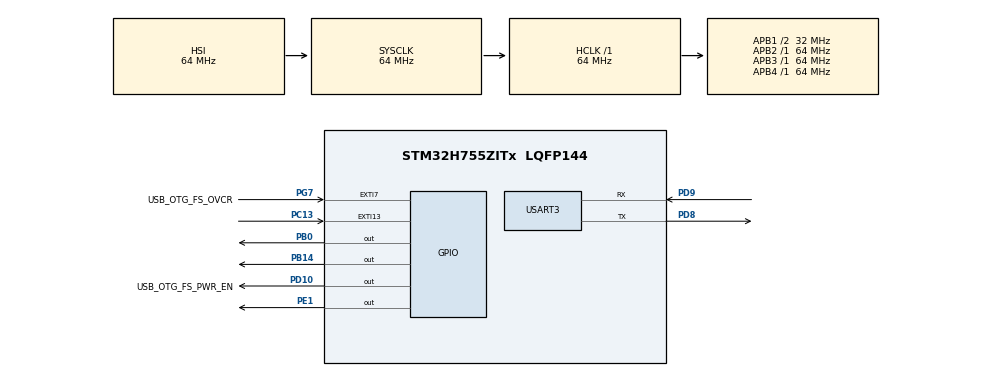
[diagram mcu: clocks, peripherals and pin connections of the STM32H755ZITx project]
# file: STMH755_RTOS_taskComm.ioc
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CortexM4.IPs=FATFS_M4\:I,FREERTOS_M4\:I,IWDG2\:I,RCC,WWDG2\:I,DMA,BDMA,MDMA,NVIC2\:I,USART3,DEBUG,PDM2PCM_M4\:I,PWR,RESMGR_UTILITY,SYS_M4\:I,USB_DEVICE_M4\:I,USB_HOST_M4\:I,CORTEX_M4\:I,GPIO,OPENAMP_M4\:I,VREFBUF,NUCLEO-H755ZI-Q,TIM2
CortexM4.Pins=PE1
CortexM7.IPs=FATFS_M7\:I,FREERTOS_M7\:I,IWDG1\:I,RCC\:I,WWDG1\:I,DMA\:I,BDMA\:I,MDMA\:I,NVIC1\:I,USART3\:I,USB_OTG_FS\:I,SYS\:I,CORTEX_M7\:I,DEBUG\:I,PDM2PCM_M7\:I,PWR\:I,RESMGR_UTILITY\:I,USB_DEVICE_M7\:I,USB_HOST_M7\:I,GPIO\:I,OPENAMP_M7\:I,VREFBUF\:I,NUCLEO-H755ZI-Q\:I,TIM2\:I
CortexM7.Pins=PC13,PB0,PB14
FREERTOS_M7.BinarySemaphores01=uartRxSem,Dynamic,NULL,Depleted
FREERTOS_M7.Queues01=ConsoleQueue,8,uint16_t,0,Dynamic,NULL,NULL;LEDQueue,8,uint16_t,0,Dynamic,NULL,NULL;ButtonQueue,8,uint16_t,0,Dynamic,NULL,NULL
FREERTOS_M7.Tasks01=defaultTask,9,128,StartDefaultTask,Default,NULL,Dynamic,NULL,NULL;UserInput,23,128,StartUserInput,Default,NULL,Dynamic,NULL,NULL;Console,25,512,StartConsole,Default,NULL,Dynamic,NULL,NULL;LED,24,128,StartLED,Default,NULL,Dynamic,NULL,NULL;ButtonTask,28,128,StartButton,Default,NULL,Dynamic,NULL,NULL
Mcu.Family=STM32H7
Mcu.Name=STM32H755ZITx
Mcu.Package=LQFP144
NVIC1.EXTI15_10_IRQn=true\:5\:0\:false\:false\:true\:true\:false\:true\:true
NVIC1.PriorityGroup=NVIC_PRIORITYGROUP_4
NVIC1.TIM2_IRQn=true\:15\:0\:false\:false\:true\:false\:false\:true\:true
NVIC1.TimeBase=TIM2_IRQn
NVIC1.TimeBaseIP=TIM2
NVIC1.USART3_IRQn=true\:5\:0\:false\:false\:true\:true\:true\:true\:true
NVIC2.PriorityGroup=NVIC_PRIORITYGROUP_4
PA1.PinAttribute=CortexM4
PA1.Signal=ETH_REF_CLK
PA11.PinAttribute=CortexM7
PA11.Signal=USB_OTG_FS_DM
PA12.PinAttribute=CortexM7
PA12.Signal=USB_OTG_FS_DP
PA2.PinAttribute=CortexM4
PA2.Signal=ETH_MDIO
PA7.PinAttribute=CortexM4
PA7.Signal=ETH_CRS_DV
PA8.PinAttribute=CortexM7
PA8.Signal=USB_OTG_FS_SOF
PA9.PinAttribute=CortexM7
PA9.Signal=USB_OTG_FS_VBUS
PB0.PinAttribute=CortexM7
PB0.Signal=GPIO_Output
PB13.PinAttribute=CortexM4
PB13.Signal=ETH_TXD1
PB14.PinAttribute=CortexM7
PB14.Signal=GPIO_Output
PC1.PinAttribute=CortexM4
PC1.Signal=ETH_MDC
PC13.PinAttribute=CortexM7
PC13.Signal=GPXTI13
PC14-OSC32_IN\ (OSC32_IN).PinAttribute=Free
PC14-OSC32_IN\ (OSC32_IN).Signal=RCC_OSC32_IN
PC15-OSC32_OUT\ (OSC32_OUT).PinAttribute=Free
PC15-OSC32_OUT\ (OSC32_OUT).Signal=RCC_OSC32_OUT
PC4.PinAttribute=CortexM4
PC4.Signal=ETH_RXD0
PC5.PinAttribute=CortexM4
PC5.Signal=ETH_RXD1
PD10.GPIO_Label=USB_OTG_FS_PWR_EN
PD10.PinAttribute=Free
PD10.Signal=GPIO_Output
PD8.Mode=Asynchronous
PD8.PinAttribute=CortexM7
PD8.Signal=USART3_TX
PD9.Mode=Asynchronous
PD9.PinAttribute=CortexM7
PD9.Signal=USART3_RX
PE1.PinAttribute=CortexM4
PE1.Signal=GPIO_Output
PG11.PinAttribute=CortexM4
PG11.Signal=ETH_TX_EN
PG13.PinAttribute=CortexM4
PG13.Signal=ETH_TXD0
PG7.GPIO_Label=USB_OTG_FS_OVCR
PG7.PinAttribute=Free
PG7.Signal=GPXTI7
PH0-OSC_IN\ (PH0).PinAttribute=Free
PH0-OSC_IN\ (PH0).Signal=RCC_OSC_IN
PH1-OSC_OUT\ (PH1).PinAttribute=Free
PH1-OSC_OUT\ (PH1).Signal=RCC_OSC_OUT
ProjectManager.HeapSize=M4-0x200,M7-0x200
ProjectManager.StackSize=M4-0x400,M7-0x450
ProjectManager.TargetToolchain=STM32CubeIDE
RCC.ADCFreq_Value=129000000
RCC.APB1Freq_Value=32000000
RCC.APB2Freq_Value=64000000
RCC.APB3Freq_Value=64000000
RCC.APB4Freq_Value=64000000
RCC.CortexFreq_Value=64000000
RCC.D2PPRE1=RCC_APB1_DIV2
RCC.DIVM1=5
RCC.DIVN1=48
RCC.DIVQ1=5
RCC.HCLKFreq_Value=64000000
RCC.PLL2FRACN=0
RCC.PLL3FRACN=0
RCC.PLLFRACN=0
RCC.SYSCLKFreq_VALUE=64000000
RCC.SupplySource=PWR_DIRECT_SMPS_SUPPLY
RCC.USBFreq_Value=122880000
USART3.VirtualMode-Asynchronous=VM_ASYNC
VP_FREERTOS_M7_VS_CMSIS_V2.Mode=CMSIS_V2
VP_SYS_M4_VS_Systick.Mode=SysTick
VP_SYS_VS_tim2.Mode=TIM2
board=NUCLEO-H755ZI-Q

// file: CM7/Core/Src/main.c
/* USER CODE BEGIN Header */
/**
  ******************************************************************************
  * @file           : main.c
  * @brief          : Main program body
  ******************************************************************************
  * @attention
  *
  * Copyright (c) 2026 STMicroelectronics.
  * All rights reserved.
  *
  * This software is licensed under terms that can be found in the LICENSE file
  * in the root directory of this software component.
  * If no LICENSE file comes with this software, it is provided AS-IS.
  *
  ******************************************************************************
  */
/* USER CODE END Header */
#include "main.h"
#include "cmsis_os.h"

/* USER CODE BEGIN Includes */
#include "FreeRTOS.h"
#include "string.h"
#include "stdio.h"
/* USER CODE END Includes */

/* USER CODE BEGIN PTD */
typedef enum
{
    CMD_LED_ON = 0,
    CMD_LED_OFF,
    CMD_SLOW_BLINK,
    CMD_FAST_BLINK
} Command_t;
/* USER CODE END PTD */

/* USER CODE BEGIN PD */

/* DUAL_CORE_BOOT_SYNC_SEQUENCE: Define for dual core boot synchronization    */
/*                             demonstration code based on hardware semaphore */
/* This define is present in both CM7/CM4 projects                            */
/* To comment when developping/debugging on a single core                     */
#define DUAL_CORE_BOOT_SYNC_SEQUENCE

#if defined(DUAL_CORE_BOOT_SYNC_SEQUENCE)
#ifndef HSEM_ID_0
#define HSEM_ID_0 (0U) /* HW semaphore 0*/
#endif
#endif /* DUAL_CORE_BOOT_SYNC_SEQUENCE */

/* USER CODE END PD */

UART_HandleTypeDef huart3;

/* Definitions for defaultTask */
osThreadId_t defaultTaskHandle;
const osThreadAttr_t defaultTask_attributes = {
  .name = "defaultTask",
  .stack_size = 128 * 4,
  .priority = (osPriority_t) osPriorityNormal,
};
/* Definitions for UserInput */
osThreadId_t UserInputHandle;
const osThreadAttr_t UserInput_attributes = {
  .name = "UserInput",
  .stack_size = 128 * 4,
  .priority = (osPriority_t) osPriorityNormal,
};
/* Definitions for Console */
osThreadId_t ConsoleHandle;
const osThreadAttr_t Console_attributes = {
  .name = "Console",
  .stack_size = 128 * 4,
  .priority = (osPriority_t) osPriorityLow,
};
/* Definitions for LED */
osThreadId_t LEDHandle;
const osThreadAttr_t LED_attributes = {
  .name = "LED",
  .stack_size = 128 * 4,
  .priority = (osPriority_t) osPriorityLow,
};
/* Definitions for ConsoleQueue */
osMessageQueueId_t ConsoleQueueHandle;
const osMessageQueueAttr_t ConsoleQueue_attributes = {
  .name = "ConsoleQueue"
};
/* Definitions for LEDQueue */
osMessageQueueId_t LEDQueueHandle;
const osMessageQueueAttr_t LEDQueue_attributes = {
  .name = "LEDQueue"
};
/* Definitions for uartRxSem */
osSemaphoreId_t uartRxSemHandle;
const osSemaphoreAttr_t uartRxSem_attributes = {
  .name = "uartRxSem"
};
/* USER CODE BEGIN PV */
uint8_t rxChar;                   // single byte DMA register
char    rxBuff[20];                // assembled string
uint8_t rxIndex = 0;

Command_t lastCommand = CMD_LED_OFF;
Command_t currentLEDState = CMD_LED_OFF;

uint32_t blinkDelay = 0;
/* USER CODE END PV */

void SystemClock_Config(void);
static void MX_GPIO_Init(void);
static void MX_USART3_UART_Init(void);
void StartDefaultTask(void *argument);
void StartUserInput(void *argument);
void StartConsole(void *argument);
void StartLED(void *argument);

/* USER CODE BEGIN 0 */
void UART_Print(char *msg)
{
    HAL_UART_Transmit(&huart3, (uint8_t*)msg, strlen(msg), HAL_MAX_DELAY);
}

/* USER CODE END 0 */

int main(void)
{

/* USER CODE BEGIN Boot_Mode_Sequence_0 */
#if defined(DUAL_CORE_BOOT_SYNC_SEQUENCE)
  int32_t timeout;
#endif /* DUAL_CORE_BOOT_SYNC_SEQUENCE */
/* USER CODE END Boot_Mode_Sequence_0 */

/* USER CODE BEGIN Boot_Mode_Sequence_1 */
#if defined(DUAL_CORE_BOOT_SYNC_SEQUENCE)
  /* Wait until CPU2 boots and enters in stop mode or timeout*/
  timeout = 0xFFFF;
  while((__HAL_RCC_GET_FLAG(RCC_FLAG_D2CKRDY) != RESET) && (timeout-- > 0));
  if ( timeout < 0 )
  {
  Error_Handler();
  }
#endif /* DUAL_CORE_BOOT_SYNC_SEQUENCE */
/* USER CODE END Boot_Mode_Sequence_1 */
  /* MCU Configuration--------------------------------------------------------*/

  /* Reset of all peripherals, Initializes the Flash interface and the Systick. */
  HAL_Init();

  /* Configure the system clock */
  SystemClock_Config();
/* USER CODE BEGIN Boot_Mode_Sequence_2 */
#if defined(DUAL_CORE_BOOT_SYNC_SEQUENCE)
/* When system initialization is finished, Cortex-M7 will release Cortex-M4 by means of
HSEM notification */
/*HW semaphore Clock enable*/
__HAL_RCC_HSEM_CLK_ENABLE();
/*Take HSEM */
HAL_HSEM_FastTake(HSEM_ID_0);
/*Release HSEM in order to notify the CPU2(CM4)*/
HAL_HSEM_Release(HSEM_ID_0,0);
/* wait until CPU2 wakes up from stop mode */
timeout = 0xFFFF;
while((__HAL_RCC_GET_FLAG(RCC_FLAG_D2CKRDY) == RESET) && (timeout-- > 0));
if ( timeout < 0 )
{
Error_Handler();
}
#endif /* DUAL_CORE_BOOT_SYNC_SEQUENCE */
/* USER CODE END Boot_Mode_Sequence_2 */

  /* Initialize all configured peripherals */
  MX_GPIO_Init();
  MX_USART3_UART_Init();
  /* USER CODE BEGIN 2 */
  HAL_UART_Receive_IT(&huart3, &rxChar, 1);
  /* USER CODE END 2 */

  /* Init scheduler */
  osKernelInitialize();

  /* Create the semaphores(s) */
  /* creation of uartRxSem */
  uartRxSemHandle = osSemaphoreNew(1, 1, &uartRxSem_attributes);

  /* Create the queue(s) */
  /* creation of ConsoleQueue */
  ConsoleQueueHandle = osMessageQueueNew (8, sizeof(uint16_t), &ConsoleQueue_attributes);

  /* creation of LEDQueue */
  LEDQueueHandle = osMessageQueueNew (8, sizeof(uint16_t), &LEDQueue_attributes);

  /* Create the thread(s) */
  /* creation of defaultTask */
  defaultTaskHandle = osThreadNew(StartDefaultTask, NULL, &defaultTask_attributes);

  /* creation of UserInput */
  UserInputHandle = osThreadNew(StartUserInput, NULL, &UserInput_attributes);

  /* creation of Console */
  ConsoleHandle = osThreadNew(StartConsole, NULL, &Console_attributes);

  /* creation of LED */
  LEDHandle = osThreadNew(StartLED, NULL, &LED_attributes);

  /* Start scheduler */
  osKernelStart();

  /* We should never get here as control is now taken by the scheduler */

  /* Infinite loop */
  /* USER CODE BEGIN WHILE */
  UART_Print("Hi the board is Up\r\n");
  while (1)
  {
    /* USER CODE END WHILE */

  }
}

void SystemClock_Config(void)
{
  RCC_OscInitTypeDef RCC_OscInitStruct = {0};
  RCC_ClkInitTypeDef RCC_ClkInitStruct = {0};

  /** Supply configuration update enable
  */
  HAL_PWREx_ConfigSupply(PWR_DIRECT_SMPS_SUPPLY);

  /** Configure the main internal regulator output voltage
  */
  __HAL_PWR_VOLTAGESCALING_CONFIG(PWR_REGULATOR_VOLTAGE_SCALE3);

  while(!__HAL_PWR_GET_FLAG(PWR_FLAG_VOSRDY)) {}

  /** Initializes the RCC Oscillators according to the specified parameters
  * in the RCC_OscInitTypeDef structure.
  */
  RCC_OscInitStruct.OscillatorType = RCC_OSCILLATORTYPE_HSI;
  RCC_OscInitStruct.HSIState = RCC_HSI_DIV1;
  RCC_OscInitStruct.HSICalibrationValue = RCC_HSICALIBRATION_DEFAULT;
  RCC_OscInitStruct.PLL.PLLState = RCC_PLL_NONE;
  if (HAL_RCC_OscConfig(&RCC_OscInitStruct) != HAL_OK)
  {
    Error_Handler();
  }

  /** Initializes the CPU, AHB and APB buses clocks
  */
  RCC_ClkInitStruct.ClockType = RCC_CLOCKTYPE_HCLK|RCC_CLOCKTYPE_SYSCLK
                              |RCC_CLOCKTYPE_PCLK1|RCC_CLOCKTYPE_PCLK2
                              |RCC_CLOCKTYPE_D3PCLK1|RCC_CLOCKTYPE_D1PCLK1;
  RCC_ClkInitStruct.SYSCLKSource = RCC_SYSCLKSOURCE_HSI;
  RCC_ClkInitStruct.SYSCLKDivider = RCC_SYSCLK_DIV1;
  RCC_ClkInitStruct.AHBCLKDivider = RCC_HCLK_DIV1;
  RCC_ClkInitStruct.APB3CLKDivider = RCC_APB3_DIV1;
  RCC_ClkInitStruct.APB1CLKDivider = RCC_APB1_DIV2;
  RCC_ClkInitStruct.APB2CLKDivider = RCC_APB2_DIV1;
  RCC_ClkInitStruct.APB4CLKDivider = RCC_APB4_DIV1;

  if (HAL_RCC_ClockConfig(&RCC_ClkInitStruct, FLASH_LATENCY_1) != HAL_OK)
  {
    Error_Handler();
  }
}

static void MX_USART3_UART_Init(void)
{

  huart3.Instance = USART3;
  huart3.Init.BaudRate = 115200;
  huart3.Init.WordLength = UART_WORDLENGTH_8B;
  huart3.Init.StopBits = UART_STOPBITS_1;
  huart3.Init.Parity = UART_PARITY_NONE;
  huart3.Init.Mode = UART_MODE_TX_RX;
  huart3.Init.HwFlowCtl = UART_HWCONTROL_NONE;
  huart3.Init.OverSampling = UART_OVERSAMPLING_16;
  huart3.Init.OneBitSampling = UART_ONE_BIT_SAMPLE_DISABLE;
  huart3.Init.ClockPrescaler = UART_PRESCALER_DIV1;
  huart3.AdvancedInit.AdvFeatureInit = UART_ADVFEATURE_NO_INIT;
  if (HAL_UART_Init(&huart3) != HAL_OK)
  {
    Error_Handler();
  }
  if (HAL_UARTEx_SetTxFifoThreshold(&huart3, UART_TXFIFO_THRESHOLD_1_8) != HAL_OK)
  {
    Error_Handler();
  }
  if (HAL_UARTEx_SetRxFifoThreshold(&huart3, UART_RXFIFO_THRESHOLD_1_8) != HAL_OK)
  {
    Error_Handler();
  }
  if (HAL_UARTEx_DisableFifoMode(&huart3) != HAL_OK)
  {
    Error_Handler();
  }

}

static void MX_GPIO_Init(void)
{
  GPIO_InitTypeDef GPIO_InitStruct = {0};

  /* GPIO Ports Clock Enable */
  __HAL_RCC_GPIOB_CLK_ENABLE();
  __HAL_RCC_GPIOD_CLK_ENABLE();
  __HAL_RCC_GPIOA_CLK_ENABLE();

  /*Configure GPIO pin Output Level */
  HAL_GPIO_WritePin(GPIOB, GPIO_PIN_0, GPIO_PIN_RESET);

  /*Configure GPIO pin : PB0 */
  GPIO_InitStruct.Pin = GPIO_PIN_0;
  GPIO_InitStruct.Mode = GPIO_MODE_OUTPUT_PP;
  GPIO_InitStruct.Pull = GPIO_NOPULL;
  GPIO_InitStruct.Speed = GPIO_SPEED_FREQ_LOW;
  HAL_GPIO_Init(GPIOB, &GPIO_InitStruct);

  /*Configure GPIO pins : PA8 PA11 PA12 */
  GPIO_InitStruct.Pin = GPIO_PIN_8|GPIO_PIN_11|GPIO_PIN_12;
  GPIO_InitStruct.Mode = GPIO_MODE_AF_PP;
  GPIO_InitStruct.Pull = GPIO_NOPULL;
  GPIO_InitStruct.Speed = GPIO_SPEED_FREQ_LOW;
  GPIO_InitStruct.Alternate = GPIO_AF10_OTG1_FS;
  HAL_GPIO_Init(GPIOA, &GPIO_InitStruct);

}

/* USER CODE BEGIN 4 */
void HAL_UART_RxCpltCallback(UART_HandleTypeDef *huart)
{
    if(huart->Instance == USART3)
    {
        if(rxChar == '\n' || rxChar == '\r')
        {
            if(rxIndex > 0)  // ignore empty lines
            {
                rxBuff[rxIndex] = '\0';  // null terminate the string
                rxIndex = 0;             // reset for next string

                // Release semaphore to wake up the UserInput task
                osSemaphoreRelease(uartRxSemHandle);
            }
        }

        else
         {
             // Append char to buffer, guard against overflow
             if(rxIndex < sizeof(rxBuff) - 1)
             {
                 rxBuff[rxIndex++] = rxChar;
             }
             else
             {
                 // Buffer overflow — reset and discard
                 rxIndex = 0;
                 memset(rxBuff, 0, sizeof(rxBuff));
             }
         }

        // Re-arm for next byte
        HAL_UART_Receive_IT(&huart3, &rxChar, 1);

    }
}
/* USER CODE END 4 */

void StartDefaultTask(void *argument)
{
  for(;;)
  {
    osDelay(1);
  }
}

void StartUserInput(void *argument)
{
  /* USER CODE BEGIN StartUserInput */
    Command_t cmd;
  /* Infinite loop */
  for(;;)
  {

      	  	  UART_Print("Enter the command\r\n");
      		  osSemaphoreAcquire(uartRxSemHandle, osWaitForever);
/*
      		  switch(rxChar){

              case 'O': cmd = CMD_LED_ON;    break;
              case 'F': cmd = CMD_LED_OFF;   break;
              case 'S': cmd = CMD_SLOW_BLINK; break;
              case 'T': cmd = CMD_FAST_BLINK; break;
              default:  UART_Print("Error\r\n"); continue;

      		  }
*/

	          if(strncmp(rxBuff,"ON",2)==0){
	              cmd = CMD_LED_ON;
	          }

	          else if(strncmp(rxBuff,"OFF",3)==0)
	              cmd = CMD_LED_OFF;

	          else if(strncmp(rxBuff,"SLOW",4)==0)
	              cmd = CMD_SLOW_BLINK;

	          else if(strncmp(rxBuff,"FAST",4)==0)
	              cmd = CMD_FAST_BLINK;

	          else{
	        	  UART_Print("Error\r\n");
	              continue;
	          }
	          osMessageQueuePut(ConsoleQueueHandle, &cmd, 0, osWaitForever);
	          osMessageQueuePut(LEDQueueHandle, &cmd, 0, osWaitForever);
  }
  /* USER CODE END StartUserInput */
}

void StartConsole(void *argument)
{
  /* USER CODE BEGIN StartConsole */
    char msg[120];
    Command_t received;
  /* Infinite loop */
  for(;;)
  {
	  if(osMessageQueueGet(ConsoleQueueHandle, &received, NULL, osWaitForever) == osOK)
      {
          lastCommand = received;

          uint32_t uptime = HAL_GetTick();

          sprintf(msg,
          "\r\nLast Command: %d\r\nLED State: %d\r\nUptime: %lu ms\r\n",
          lastCommand,
          currentLEDState,
          uptime);

          UART_Print(msg);

      }
  }
  /* USER CODE END StartConsole */
}

void StartLED(void *argument)
{
  /* USER CODE BEGIN StartLED */
    Command_t cmd;
  /* Infinite loop */
  for(;;)
  {
      if(osMessageQueueGet(LEDQueueHandle, &cmd, NULL, 0)== osOK)

      {
          currentLEDState = cmd;

          switch(cmd)
          {
              case CMD_LED_ON:
                  blinkDelay = 0;
                  HAL_GPIO_WritePin(GPIOB,GPIO_PIN_0,GPIO_PIN_SET);
                  break;

              case CMD_LED_OFF:
                  blinkDelay = 0;
                  HAL_GPIO_WritePin(GPIOB,GPIO_PIN_0,GPIO_PIN_RESET);
                  break;

              case CMD_SLOW_BLINK:
                  blinkDelay = 1000;
                  break;

              case CMD_FAST_BLINK:
                  blinkDelay = 200;
                  break;
          }

      }

      if(blinkDelay > 0)
      {
          HAL_GPIO_TogglePin(GPIOB,GPIO_PIN_0);
          osDelay(blinkDelay);
      }
      else{
    	  osDelay(10);
      }
  }
  /* USER CODE END StartLED */
}

void HAL_TIM_PeriodElapsedCallback(TIM_HandleTypeDef *htim)
{
  if (htim->Instance == TIM2)
  {
    HAL_IncTick();
  }
}

void Error_Handler(void)
{
  __disable_irq();
  while (1)
  {
  }
}
